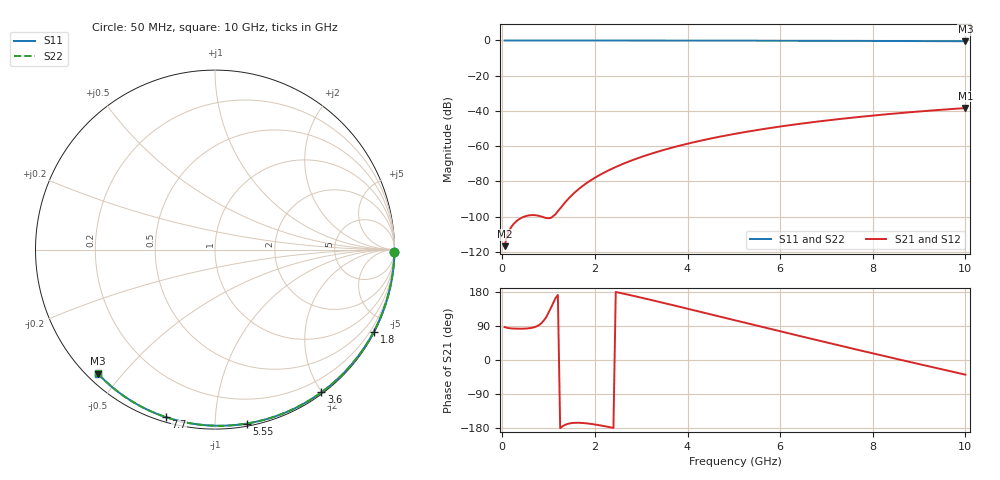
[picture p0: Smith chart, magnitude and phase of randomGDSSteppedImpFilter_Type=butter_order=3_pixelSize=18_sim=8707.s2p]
! freq	dB(S11)	phase(S11)	dB(S12)	phase(S12)
!  dB(S21)	phase(S21)	dB(S22)	phase(S22)
!S-par simulation data
#  GHz  S  DB  R 50
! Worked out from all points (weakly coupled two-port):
!   200 points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, 50 MHz to 10 GHz, reference 50 ohm
!   highest |S21| = -38.35 dB at 10 GHz (marker M1); lowest = -116.7 dB at 50 MHz (marker M2)
!   lowest |S11| = -0.4 dB at 10 GHz (marker M3), VSWR 39.12, Z = 1.52 - j21.6 ohm
!   |S11| at or under -10 dB: nowhere
!   |S22| runs from -0.4 to 0.0 dB; largest |S21 - S12| = 0
!   S11 on the Smith chart (normalised r, x): 50 MHz: open; 1.8 GHz: 0.04, -4.12; 3.6 GHz: 0.02, -1.99; 5.55 GHz: 0.02, -1.20; 7.7 GHz: 0.02, -0.75; 10 GHz: 0.03, -0.43
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0.05  -0.00 -0.8  -116.71 87.0  -116.71 87.0  -0.00 -0.8
0.9  -0.02 -13.8  -100.41 104.9  -100.41 104.9  -0.02 -13.8
1.75  -0.03 -26.5  -82.25 -166.3  -82.25 -166.3  -0.03 -26.6
1.8  -0.03 -27.3  -81.30 -166.9  -81.30 -166.9  -0.03 -27.3
1.85  -0.04 -28.0  -80.39 -167.6  -80.39 -167.6  -0.04 -28.1
1.9  -0.04 -28.8  -79.52 -168.4  -79.52 -168.4  -0.04 -28.8
2.05  -0.04 -31.0  -77.11 -171.1  -77.11 -171.1  -0.04 -31.0
2.25  -0.04 -33.9  -74.28 -175.6  -74.28 -175.6  -0.04 -34.0
2.45  -0.05 -36.8  -71.78 179.5  -71.78 179.5  -0.05 -36.9
2.65  -0.05 -39.8  -69.54 174.2  -69.54 174.2  -0.05 -39.8
3  -0.06 -44.8  -66.12 164.5  -66.12 164.5  -0.06 -44.9
3.4  -0.07 -50.5  -62.77 153.0  -62.77 153.0  -0.07 -50.6
3.6  -0.07 -53.3  -61.28 147.2  -61.28 147.2  -0.07 -53.4
4.3  -0.09 -63.0  -56.76 126.4  -56.76 126.4  -0.09 -63.1
5.05  -0.11 -73.1  -52.85 104.1  -52.85 104.1  -0.11 -73.2
5.55  -0.13 -79.6  -50.62 89.2  -50.62 89.2  -0.13 -79.8
6.1  -0.15 -86.7  -48.45 72.9  -48.45 72.9  -0.15 -86.8
6.7  -0.18 -94.2  -46.37 55.2  -46.37 55.2  -0.18 -94.4
7.7  -0.24 -106.4  -43.40 26.2  -43.40 26.2  -0.24 -106.6
8.35  -0.29 -114.1  -41.76 7.6  -41.76 7.6  -0.29 -114.3
9.15  -0.36 -123.5  -39.98 -15.0  -39.98 -15.0  -0.36 -123.6
10  -0.44 -133.3  -38.35 -38.6  -38.35 -38.6  -0.44 -133.5
